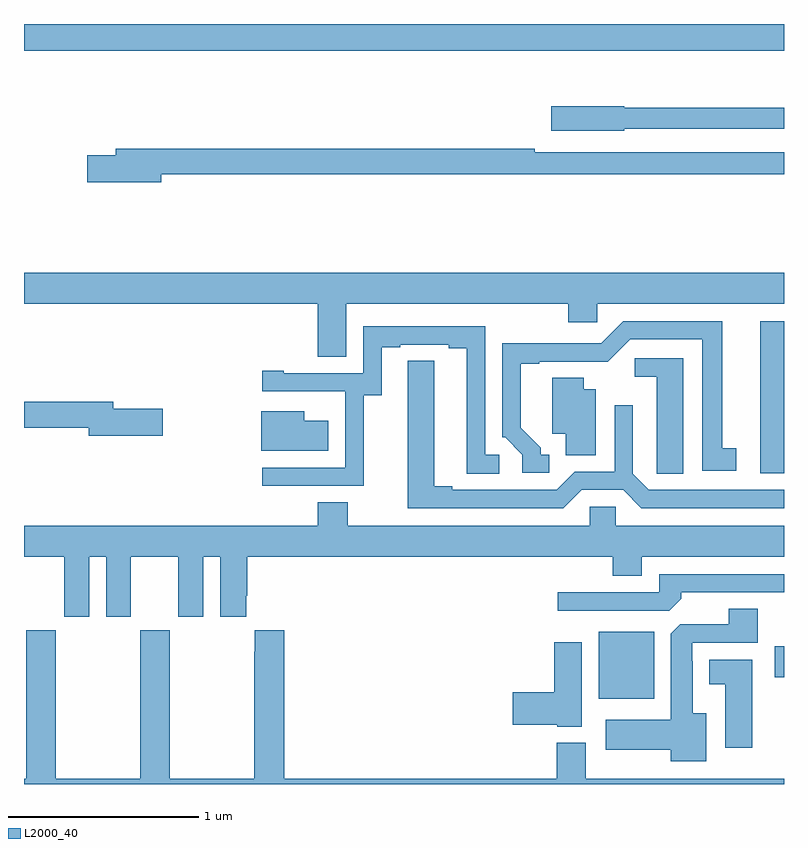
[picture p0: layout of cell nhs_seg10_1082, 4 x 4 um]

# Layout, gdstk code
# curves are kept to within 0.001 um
import gdstk
lib = gdstk.Library(unit=1e-6, precision=1e-09)
def R(c, l, rs):  # rectangles x0, y0, x1, y1
    for r in rs: c.add(gdstk.rectangle(r[:2], r[2:], *l))
def P(c, l, *ps):  # polygons
    for p in ps: c.add(gdstk.Polygon(p, *l))
L2000_40 = (2000, 40)

nhs_seg10_1082 = lib.new_cell('nhs_seg10_1082')
R(nhs_seg10_1082, L2000_40, [(170.024,1252.949,170.317,1253.302), (170.952,1253.062,171,1253.224), (170.876,1254.135,171,1254.936), (167,1256.36,171,1256.5)])
P(nhs_seg10_1082, L2000_40, [(170.16,1255.95),(171,1255.95),(171,1256.059),(170.16,1256.059),(170.16,1256.067),(169.776,1256.067),(169.776,1255.937),(170.16,1255.937)],
  [(167.722,1255.708),(171,1255.708),(171,1255.824),(169.688,1255.824),(169.688,1255.844),(167.483,1255.844),(167.483,1255.808),(167.334,1255.808),(167.334,1255.666),(167.722,1255.666)],
  [(168.697,1255.028),(169.865,1255.028),(169.865,1254.93),(170.016,1254.93),(170.016,1255.028),(171,1255.028),(171,1255.192),(167,1255.192),(167,1255.028),(168.545,1255.028),(168.545,1254.748),(168.697,1254.748)],
  [(169.765,1254.234),(169.72,1254.234),(169.72,1254.269),(169.615,1254.374),(169.615,1254.711),(169.711,1254.711),(169.711,1254.723),(170.072,1254.722),(170.19,1254.84),(170.57,1254.84),(170.57,1254.15),(170.749,1254.15),(170.749,1254.266),(170.674,1254.266),(170.674,1254.936),(170.154,1254.936),(170.037,1254.819),(169.781,1254.819),(169.781,1254.821),(169.518,1254.821),(169.518,1254.324),(169.533,1254.324),(169.623,1254.234),(169.623,1254.138),(169.765,1254.138)],
  [(168.789,1254.547),(168.883,1254.547),(168.883,1254.798),(168.979,1254.798),(168.979,1254.813),(169.235,1254.813),(169.235,1254.793),(169.331,1254.793),(169.331,1254.133),(169.501,1254.133),(169.501,1254.234),(169.428,1254.234),(169.428,1254.909),(168.786,1254.909),(168.786,1254.663),(168.367,1254.663),(168.367,1254.676),(168.255,1254.676),(168.255,1254.567),(168.689,1254.567),(168.689,1254.566),(168.69,1254.566),(168.69,1254.165),(168.255,1254.165),(168.255,1254.069),(168.789,1254.069)],
  [(170.47,1254.741),(170.214,1254.741),(170.214,1254.644),(170.33,1254.644),(170.33,1254.241),(170.331,1254.241),(170.331,1254.133),(170.47,1254.133)],
  [(169.935,1254.048),(170.153,1254.048),(170.249,1253.952),(171,1253.952),(171,1254.048),(170.289,1254.048),(170.205,1254.132),(170.205,1254.493),(170.109,1254.493),(170.109,1254.144),(169.899,1254.144),(169.803,1254.048),(169.255,1254.048),(169.255,1254.068),(169.159,1254.068),(169.159,1254.728),(169.02,1254.728),(169.019,1253.952),(169.839,1253.952)],
  [(170.008,1254.577),(169.945,1254.577),(169.945,1254.638),(169.781,1254.638),(169.781,1254.344),(169.85,1254.344),(169.85,1254.229),(170.008,1254.229)],
  [(167.731,1254.476),(167.47,1254.476),(167.47,1254.512),(167,1254.512),(167,1254.376),(167.342,1254.376),(167.342,1254.334),(167.731,1254.334)],
  [(168.601,1254.412),(168.475,1254.412),(168.475,1254.463),(168.248,1254.463),(168.248,1254.254),(168.601,1254.254)],
  [(167.344,1253.696),(167.432,1253.696),(167.432,1253.379),(167.563,1253.379),(167.563,1253.696),(167.813,1253.696),(167.813,1253.379),(167.944,1253.379),(167.944,1253.696),(168.032,1253.696),(168.032,1253.379),(168.169,1253.379),(168.169,1253.491),(168.176,1253.491),(168.176,1253.696),(170.099,1253.696),(170.099,1253.597),(170.251,1253.597),(170.251,1253.696),(171,1253.696),(171,1253.86),(170.115,1253.86),(170.115,1253.958),(169.977,1253.958),(169.977,1253.86),(168.705,1253.86),(168.705,1253.984),(168.545,1253.984),(168.545,1253.86),(167,1253.86),(167,1253.696),(167.213,1253.696),(167.213,1253.379),(167.344,1253.379)],
  [(170.459,1253.474),(170.459,1253.508),(171,1253.508),(171,1253.604),(170.343,1253.604),(170.343,1253.508),(169.809,1253.508),(169.809,1253.412),(170.397,1253.412)],
  [(170.59,1252.873),(170.521,1252.873),(170.521,1253.147),(170.517,1253.147),(170.517,1253.244),(170.861,1253.244),(170.861,1253.423),(170.708,1253.423),(170.708,1253.34),(170.454,1253.34),(170.405,1253.291),(170.405,1252.837),(170.061,1252.837),(170.061,1252.679),(170.405,1252.679),(170.405,1252.619),(170.59,1252.619)],
  [(171,1252.528),(169.957,1252.528),(169.957,1252.717),(169.805,1252.717),(169.805,1252.528),(168.371,1252.528),(168.371,1253.308),(168.215,1253.308),(168.215,1253.195),(168.211,1253.195),(168.211,1252.528),(167.766,1252.528),(167.766,1253.308),(167.611,1253.308),(167.611,1252.528),(167.166,1252.528),(167.166,1253.308),(167.011,1253.308),(167.011,1252.528),(167,1252.528),(167,1252.5),(171,1252.5)],
  [(169.936,1253.245),(169.79,1253.245),(169.79,1252.982),(169.572,1252.982),(169.572,1252.811),(169.806,1252.811),(169.806,1252.802),(169.936,1252.802)],
  [(170.833,1253.155),(170.606,1253.155),(170.606,1253.024),(170.69,1253.024),(170.69,1252.692),(170.833,1252.692)])

lib.write_gds('nhs_seg10_1082.gds')
